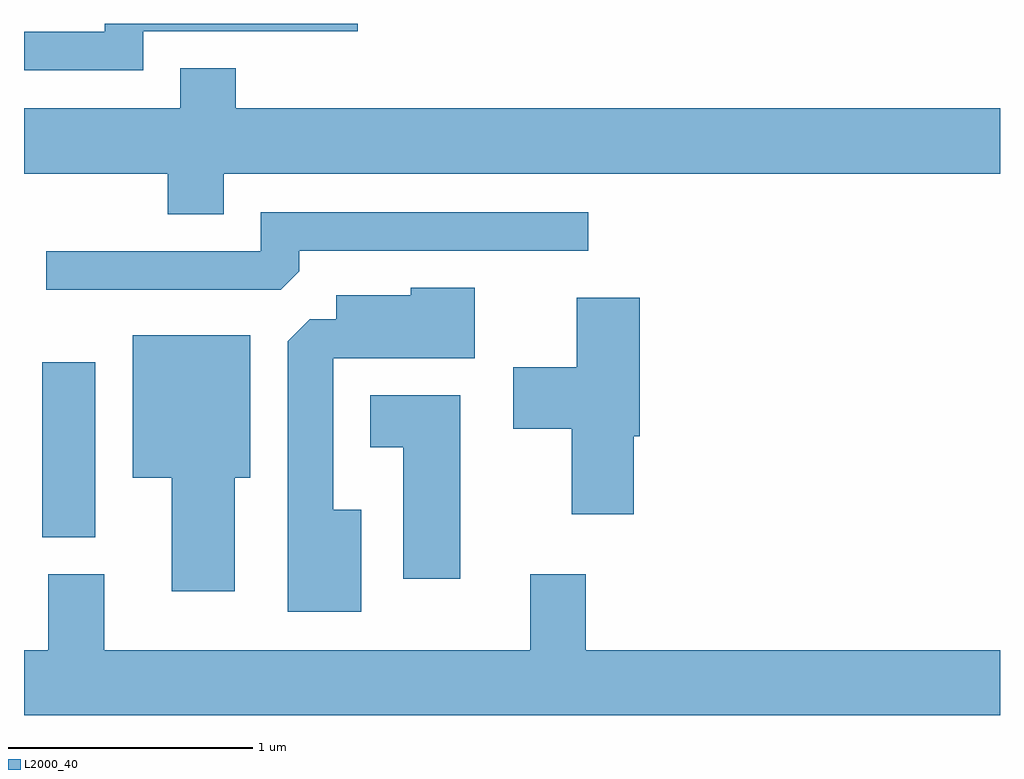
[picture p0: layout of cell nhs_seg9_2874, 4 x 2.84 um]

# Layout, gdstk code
import gdstk
lib = gdstk.Library(unit=1e-6, precision=1e-09)
def R(c, l, rs):  # rectangles x0, y0, x1, y1
    for r in rs: c.add(gdstk.rectangle(r[:2], r[2:], *l))
def P(c, l, *ps):  # polygons
    for p in ps: c.add(gdstk.Polygon(p, *l))
L2000_40 = (2000, 40)

nhs_seg9_2874 = lib.new_cell('nhs_seg9_2874')
R(nhs_seg9_2874, L2000_40, [(269.686,1990.326,269.904,1991.044)])
P(nhs_seg9_2874, L2000_40, [(270.099,1992.401),(270.978,1992.401),(270.978,1992.432),(269.941,1992.432),(269.941,1992.399),(269.611,1992.399),(269.611,1992.241),(270.099,1992.241)],
  [(270.429,1991.816),(273.611,1991.816),(273.611,1992.084),(270.479,1992.084),(270.479,1992.249),(270.251,1992.249),(270.251,1992.084),(269.611,1992.084),(269.611,1991.816),(270.201,1991.816),(270.201,1991.651),(270.429,1991.651)],
  [(270.739,1991.417),(270.739,1991.501),(271.923,1991.501),(271.923,1991.659),(270.581,1991.659),(270.581,1991.499),(269.703,1991.499),(269.703,1991.341),(270.664,1991.341)],
  [(270.994,1990.439),(270.879,1990.439),(270.879,1991.061),(271.459,1991.061),(271.459,1991.349),(271.196,1991.349),(271.196,1991.319),(270.891,1991.319),(270.891,1991.219),(270.782,1991.219),(270.691,1991.129),(270.691,1990.021),(270.994,1990.021)],
  [(272.109,1990.741),(272.134,1990.741),(272.134,1991.309),(271.876,1991.309),(271.876,1991.024),(271.616,1991.024),(271.616,1990.771),(271.856,1990.771),(271.856,1990.421),(272.109,1990.421)],
  [(270.474,1990.571),(270.539,1990.571),(270.539,1991.154),(270.056,1991.154),(270.056,1990.571),(270.216,1990.571),(270.216,1990.106),(270.474,1990.106)],
  [(271.399,1990.909),(271.031,1990.909),(271.031,1990.696),(271.166,1990.696),(271.166,1990.156),(271.399,1990.156)],
  [(273.611,1989.864),(271.914,1989.864),(271.914,1990.174),(271.686,1990.174),(271.686,1989.864),(269.939,1989.864),(269.939,1990.174),(269.711,1990.174),(269.711,1989.864),(269.611,1989.864),(269.611,1989.596),(273.611,1989.596)])

lib.write_gds('nhs_seg9_2874.gds')
